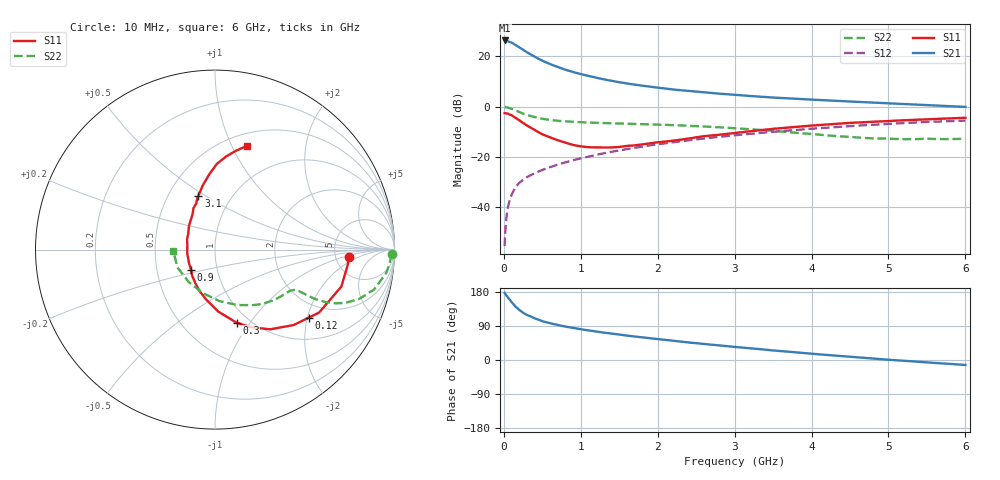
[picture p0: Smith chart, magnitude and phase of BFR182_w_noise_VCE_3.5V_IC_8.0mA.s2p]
! Infineon Technologies  Discrete & RF Semiconductors
! BFR182
! VCE =  3.5 V,  IC =  8.0 mA
! Common Emitter S-Parameters:  Nov 2015
# GHz  S  MA  R  50
!  f  S11  S21  S12  S22
! GHz  MAG  ANG  MAG  ANG  MAG  ANG  MAG  ANG
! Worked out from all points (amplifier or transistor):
!   210 points, 10 MHz to 6 GHz, reference 50 ohm
!   highest |S21| = 26.3 dB at 10 MHz (marker M1)
!   |S21| within 3 dB of that: start of sweep to 215.2 MHz
!   unconditionally stable (mu >= 1): 873 MHz to 2.696 GHz
!   at 185 MHz: K = 0.45, MSG = 27.3 dB, |S12| = -30.8 dB
!   at 1.52 GHz: K = 1.05, MAG = 12.1 dB, |S12| = -17.2 dB
!   at 6 GHz: K = 0.89, MSG = 2.7 dB, |S12| = -5.5 dB
!   lowest NFmin = 1.40 dB at 450 MHz
!   S11 on the Smith chart (normalised r, x): 10 MHz: 6.61, -1.28; 120 MHz: 1.57, -2.04; 300 MHz: 0.87, -0.87; 900 MHz: 0.75, -0.17; 3.1 GHz: 0.70, +0.47; 6 GHz: 0.63, +1.14
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0.01  0.7457 -3.3  20.68 177.0  0.0017 91.5  0.9854 -1.5
0.025  0.7414 -8.0  20.27 172.6  0.0045 84.4  0.9771 -3.9
0.05  0.7334 -16.3  20.02 165.7  0.0096 84.1  0.9644 -7.6
0.1  0.6777 -31.2  18.84 152.9  0.0177 76.0  0.9137 -14.1
0.12  0.6457 -35.9  17.97 148.5  0.0206 73.6  0.8864 -16.0
0.15  0.607 -43.8  16.88 141.1  0.0249 71.0  0.8473 -19.0
0.2  0.5403 -55.3  15.16 132.2  0.0308 67.7  0.7849 -22.2
0.24  0.4874 -63.1  13.83 126.2  0.0343 65.8  0.7391 -23.9
0.3  0.4245 -73.6  12.03 118.8  0.0399 65.2  0.6827 -25.4
0.4  0.3457 -87.0  9.805 110.0  0.0476 64.0  0.6202 -26.3
0.5  0.283 -99.8  8.163 102.4  0.0555 64.4  0.5752 -26.3
0.6  0.2464 -110.6  7.016 97.0  0.0628 65.3  0.5451 -26.3
0.7  0.2162 -120.4  6.135 92.2  0.0706 65.9  0.5248 -26.3
0.9  0.1744 -140.3  4.868 84.4  0.0865 66.3  0.5016 -26.7
1.02  0.1618 -154.1  4.365 80.5  0.0958 66.3  0.4907 -27.3
1.4  0.1555 171.8  3.259 69.6  0.1271 66.1  0.4685 -30.5
1.7  0.1703 151.7  2.74 62.0  0.1524 64.8  0.4555 -33.8
2.02  0.1977 136.8  2.368 54.8  0.1808 62.9  0.4403 -38.2
3.1  0.3126 107.3  1.675 32.8  0.2795 53.9  0.3652 -57.9
4.1  0.4322 93.1  1.358 14.9  0.3745 43.3  0.2781 -88.7
5.1  0.5295 82.2  1.151 -0.6  0.4644 31.1  0.2288 -133.9
6  0.6028 73.0  0.991 -13.1  0.5292 18.5  0.2323 -178.2
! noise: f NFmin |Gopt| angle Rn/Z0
0.45  1.4  0.26  41  0.29
0.9  1.5  0.25  83  0.23
1.8  2  0.21  162  0.2
